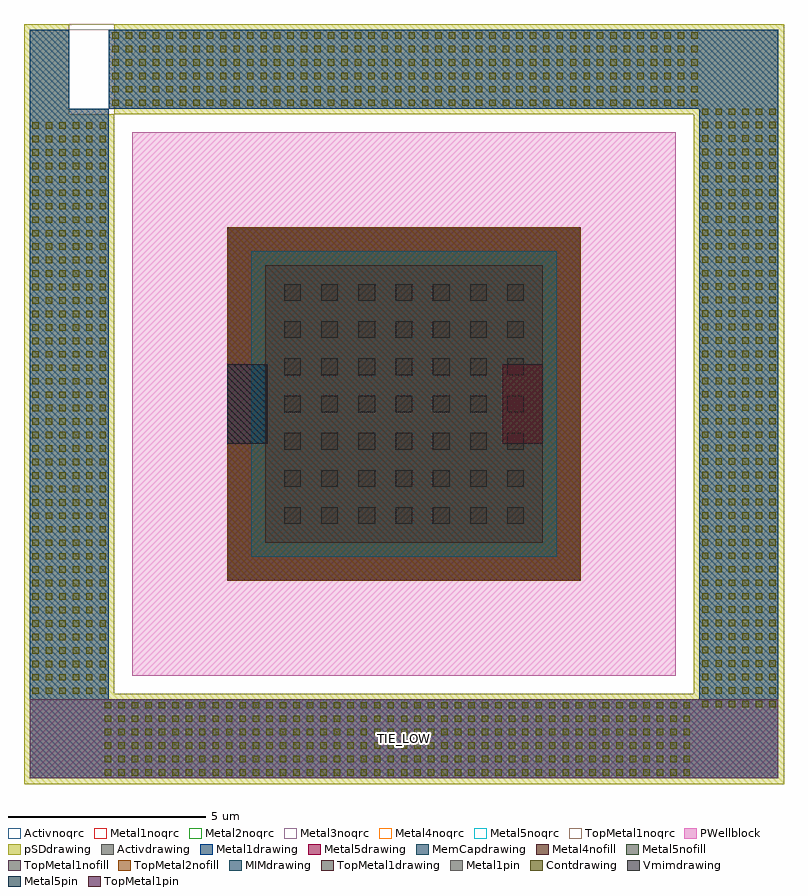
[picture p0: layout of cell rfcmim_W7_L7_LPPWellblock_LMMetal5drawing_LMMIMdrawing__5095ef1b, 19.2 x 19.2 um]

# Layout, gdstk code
from math import pi, radians
import gdstk
lib = gdstk.Library(unit=1e-6, precision=1e-09)
def R(c, l, rs):  # rectangles x0, y0, x1, y1
    for r in rs: c.add(gdstk.rectangle(r[:2], r[2:], *l))
def P(c, l, *ps):  # polygons
    for p in ps: c.add(gdstk.Polygon(p, *l))
Activdrawing = (1, 0)
Activnoqrc = (1, 28)
Contdrawing = (6, 0)
Metal1drawing = (8, 0)
Metal1pin = (8, 2)
Metal1noqrc = (8, 28)
Metal2noqrc = (10, 28)
pSDdrawing = (14, 0)
Metal3noqrc = (30, 28)
MIMdrawing = (36, 0)
PWellblock = (46, 21)
Metal4nofill = (50, 23)
Metal4noqrc = (50, 28)
Metal5drawing = (67, 0)
Metal5pin = (67, 2)
Metal5nofill = (67, 23)
Metal5noqrc = (67, 28)
MemCapdrawing = (69, 0)
TopMetal1drawing = (126, 0)
TopMetal1pin = (126, 2)
TopMetal1nofill = (126, 23)
TopMetal1noqrc = (126, 28)
Vmimdrawing = (129, 0)
TopMetal2nofill = (134, 23)

rectangle_gdsfactorypcom = lib.new_cell('rectangle_gdsfactorypcomponentspshapesprectangle_S8p92__d84e9161')
R(rectangle_gdsfactorypcom, Metal5drawing, [(-4.46,-4.46,4.46,4.46)])

c_rectangle_gdsfactorypcom = lib.new_cell('rectangle_gdsfactorypcomponentspshapesprectangle_S7p72__8766f7dc')
R(c_rectangle_gdsfactorypcom, MIMdrawing, [(-3.86,-3.86,3.86,3.86)])

c_rectangle_gdsfactorypcom_ = lib.new_cell('rectangle_gdsfactorypcomponentspshapesprectangle_S7_7_L_abd43229')
R(c_rectangle_gdsfactorypcom_, TopMetal1drawing, [(-3.5,-3.5,3.5,3.5)])

c_rectangle_gdsfactorypcom__ = lib.new_cell('rectangle_gdsfactorypcomponentspshapesprectangle_S0p42__b20b6c6c')
R(c_rectangle_gdsfactorypcom__, Vmimdrawing, [(0,0,0.42,0.42)])

via_array_vtvmim_c7_r7_v = lib.new_cell('via_array_VTVmim_C7_R7_VS0p42_VS0p94_VE0p42_LCContdrawi_e57b8d13')
via_array_vtvmim_c7_r7_v.add(gdstk.Reference(c_rectangle_gdsfactorypcom__, (0,0)))
via_array_vtvmim_c7_r7_v.add(gdstk.Reference(c_rectangle_gdsfactorypcom__, (0,0.94)))
via_array_vtvmim_c7_r7_v.add(gdstk.Reference(c_rectangle_gdsfactorypcom__, (0,1.88)))
via_array_vtvmim_c7_r7_v.add(gdstk.Reference(c_rectangle_gdsfactorypcom__, (0,2.82)))
via_array_vtvmim_c7_r7_v.add(gdstk.Reference(c_rectangle_gdsfactorypcom__, (0,3.76)))
via_array_vtvmim_c7_r7_v.add(gdstk.Reference(c_rectangle_gdsfactorypcom__, (0,4.7)))
via_array_vtvmim_c7_r7_v.add(gdstk.Reference(c_rectangle_gdsfactorypcom__, (0,5.64)))
via_array_vtvmim_c7_r7_v.add(gdstk.Reference(c_rectangle_gdsfactorypcom__, (0.94,0)))
via_array_vtvmim_c7_r7_v.add(gdstk.Reference(c_rectangle_gdsfactorypcom__, (0.94,0.94)))
via_array_vtvmim_c7_r7_v.add(gdstk.Reference(c_rectangle_gdsfactorypcom__, (0.94,1.88)))
via_array_vtvmim_c7_r7_v.add(gdstk.Reference(c_rectangle_gdsfactorypcom__, (0.94,2.82)))
via_array_vtvmim_c7_r7_v.add(gdstk.Reference(c_rectangle_gdsfactorypcom__, (0.94,3.76)))
via_array_vtvmim_c7_r7_v.add(gdstk.Reference(c_rectangle_gdsfactorypcom__, (0.94,4.7)))
via_array_vtvmim_c7_r7_v.add(gdstk.Reference(c_rectangle_gdsfactorypcom__, (0.94,5.64)))
via_array_vtvmim_c7_r7_v.add(gdstk.Reference(c_rectangle_gdsfactorypcom__, (1.88,0)))
via_array_vtvmim_c7_r7_v.add(gdstk.Reference(c_rectangle_gdsfactorypcom__, (1.88,0.94)))
via_array_vtvmim_c7_r7_v.add(gdstk.Reference(c_rectangle_gdsfactorypcom__, (1.88,1.88)))
via_array_vtvmim_c7_r7_v.add(gdstk.Reference(c_rectangle_gdsfactorypcom__, (1.88,2.82)))
via_array_vtvmim_c7_r7_v.add(gdstk.Reference(c_rectangle_gdsfactorypcom__, (1.88,3.76)))
via_array_vtvmim_c7_r7_v.add(gdstk.Reference(c_rectangle_gdsfactorypcom__, (1.88,4.7)))
via_array_vtvmim_c7_r7_v.add(gdstk.Reference(c_rectangle_gdsfactorypcom__, (1.88,5.64)))
via_array_vtvmim_c7_r7_v.add(gdstk.Reference(c_rectangle_gdsfactorypcom__, (2.82,0)))
via_array_vtvmim_c7_r7_v.add(gdstk.Reference(c_rectangle_gdsfactorypcom__, (2.82,0.94)))
via_array_vtvmim_c7_r7_v.add(gdstk.Reference(c_rectangle_gdsfactorypcom__, (2.82,1.88)))
via_array_vtvmim_c7_r7_v.add(gdstk.Reference(c_rectangle_gdsfactorypcom__, (2.82,2.82)))
via_array_vtvmim_c7_r7_v.add(gdstk.Reference(c_rectangle_gdsfactorypcom__, (2.82,3.76)))
via_array_vtvmim_c7_r7_v.add(gdstk.Reference(c_rectangle_gdsfactorypcom__, (2.82,4.7)))
via_array_vtvmim_c7_r7_v.add(gdstk.Reference(c_rectangle_gdsfactorypcom__, (2.82,5.64)))
via_array_vtvmim_c7_r7_v.add(gdstk.Reference(c_rectangle_gdsfactorypcom__, (3.76,0)))
via_array_vtvmim_c7_r7_v.add(gdstk.Reference(c_rectangle_gdsfactorypcom__, (3.76,0.94)))
via_array_vtvmim_c7_r7_v.add(gdstk.Reference(c_rectangle_gdsfactorypcom__, (3.76,1.88)))
via_array_vtvmim_c7_r7_v.add(gdstk.Reference(c_rectangle_gdsfactorypcom__, (3.76,2.82)))
via_array_vtvmim_c7_r7_v.add(gdstk.Reference(c_rectangle_gdsfactorypcom__, (3.76,3.76)))
via_array_vtvmim_c7_r7_v.add(gdstk.Reference(c_rectangle_gdsfactorypcom__, (3.76,4.7)))
via_array_vtvmim_c7_r7_v.add(gdstk.Reference(c_rectangle_gdsfactorypcom__, (3.76,5.64)))
via_array_vtvmim_c7_r7_v.add(gdstk.Reference(c_rectangle_gdsfactorypcom__, (4.7,0)))
via_array_vtvmim_c7_r7_v.add(gdstk.Reference(c_rectangle_gdsfactorypcom__, (4.7,0.94)))
via_array_vtvmim_c7_r7_v.add(gdstk.Reference(c_rectangle_gdsfactorypcom__, (4.7,1.88)))
via_array_vtvmim_c7_r7_v.add(gdstk.Reference(c_rectangle_gdsfactorypcom__, (4.7,2.82)))
via_array_vtvmim_c7_r7_v.add(gdstk.Reference(c_rectangle_gdsfactorypcom__, (4.7,3.76)))
via_array_vtvmim_c7_r7_v.add(gdstk.Reference(c_rectangle_gdsfactorypcom__, (4.7,4.7)))
via_array_vtvmim_c7_r7_v.add(gdstk.Reference(c_rectangle_gdsfactorypcom__, (4.7,5.64)))
via_array_vtvmim_c7_r7_v.add(gdstk.Reference(c_rectangle_gdsfactorypcom__, (5.64,0)))
via_array_vtvmim_c7_r7_v.add(gdstk.Reference(c_rectangle_gdsfactorypcom__, (5.64,0.94)))
via_array_vtvmim_c7_r7_v.add(gdstk.Reference(c_rectangle_gdsfactorypcom__, (5.64,1.88)))
via_array_vtvmim_c7_r7_v.add(gdstk.Reference(c_rectangle_gdsfactorypcom__, (5.64,2.82)))
via_array_vtvmim_c7_r7_v.add(gdstk.Reference(c_rectangle_gdsfactorypcom__, (5.64,3.76)))
via_array_vtvmim_c7_r7_v.add(gdstk.Reference(c_rectangle_gdsfactorypcom__, (5.64,4.7)))
via_array_vtvmim_c7_r7_v.add(gdstk.Reference(c_rectangle_gdsfactorypcom__, (5.64,5.64)))

c_rectangle_gdsfactorypcom___ = lib.new_cell('rectangle_gdsfactorypcomponentspshapesprectangle_S8p92__d5712069')
R(c_rectangle_gdsfactorypcom___, MemCapdrawing, [(-4.46,-4.46,4.46,4.46)])

c_rectangle_gdsfactorypcom____ = lib.new_cell('rectangle_gdsfactorypcomponentspshapesprectangle_S8p92__9c098d54')
R(c_rectangle_gdsfactorypcom____, Metal4nofill, [(-4.46,-4.46,4.46,4.46)])

c_rectangle_gdsfactorypcom_____ = lib.new_cell('rectangle_gdsfactorypcomponentspshapesprectangle_S8p92__cdf6bbf6')
R(c_rectangle_gdsfactorypcom_____, Metal5nofill, [(-4.46,-4.46,4.46,4.46)])

c_rectangle_gdsfactorypcom______ = lib.new_cell('rectangle_gdsfactorypcomponentspshapesprectangle_S8p92__0cfac802')
R(c_rectangle_gdsfactorypcom______, TopMetal1nofill, [(-4.46,-4.46,4.46,4.46)])

c_rectangle_gdsfactorypcom_______ = lib.new_cell('rectangle_gdsfactorypcomponentspshapesprectangle_S8p92__57c61b2f')
R(c_rectangle_gdsfactorypcom_______, TopMetal2nofill, [(-4.46,-4.46,4.46,4.46)])

c_rectangle_gdsfactorypcom________ = lib.new_cell('rectangle_gdsfactorypcomponentspshapesprectangle_S1_2_L_313130ad')
R(c_rectangle_gdsfactorypcom________, Metal5pin, [(-0.5,-1,0.5,1)])

c_rectangle_gdsfactorypcom_________ = lib.new_cell('rectangle_gdsfactorypcomponentspshapesprectangle_S1_2_L_21edbbcb')
R(c_rectangle_gdsfactorypcom_________, TopMetal1pin, [(-0.5,-1,0.5,1)])

cmim_w7_l7_lmmetal5drawi = lib.new_cell('cmim_W7_L7_LMMetal5drawing_LMMIMdrawing_LVVmimdrawing_L_1c086c17')
cmim_w7_l7_lmmetal5drawi.add(gdstk.Reference(rectangle_gdsfactorypcom, (0,0)))
cmim_w7_l7_lmmetal5drawi.add(gdstk.Reference(c_rectangle_gdsfactorypcom, (0,0)))
cmim_w7_l7_lmmetal5drawi.add(gdstk.Reference(c_rectangle_gdsfactorypcom_, (0,0)))
cmim_w7_l7_lmmetal5drawi.add(gdstk.Reference(via_array_vtvmim_c7_r7_v, (-3.03,-3.03)))
cmim_w7_l7_lmmetal5drawi.add(gdstk.Reference(c_rectangle_gdsfactorypcom___, (0,0)))
cmim_w7_l7_lmmetal5drawi.add(gdstk.Reference(c_rectangle_gdsfactorypcom____, (0,0)))
cmim_w7_l7_lmmetal5drawi.add(gdstk.Reference(c_rectangle_gdsfactorypcom_____, (0,0)))
cmim_w7_l7_lmmetal5drawi.add(gdstk.Reference(c_rectangle_gdsfactorypcom______, (0,0)))
cmim_w7_l7_lmmetal5drawi.add(gdstk.Reference(c_rectangle_gdsfactorypcom_______, (0,0)))
cmim_w7_l7_lmmetal5drawi.add(gdstk.Reference(c_rectangle_gdsfactorypcom________, (-3.96,0)))
cmim_w7_l7_lmmetal5drawi.add(gdstk.Reference(c_rectangle_gdsfactorypcom_________, (3,0)))
cmim_w7_l7_lmmetal5drawi.add(gdstk.Label('PLUS', (3,0), layer=63, texttype=0))
cmim_w7_l7_lmmetal5drawi.add(gdstk.Label('MINUS', (-4.36,0), layer=63, texttype=0))
cmim_w7_l7_lmmetal5drawi.add(gdstk.Label('rfcmim', (0,3.5), layer=63, texttype=0))
cmim_w7_l7_lmmetal5drawi.add(gdstk.Label('C = 74.83174999999999 fF', (0,-3.5), layer=63, texttype=0))

c_rectangle_gdsfactorypcom__________ = lib.new_cell('rectangle_gdsfactorypcomponentspshapesprectangle_S13p71_1ac4d0b1')
R(c_rectangle_gdsfactorypcom__________, PWellblock, [(-6.86,-6.86,6.86,6.86)])

unnamed_377 = lib.new_cell('Unnamed_377')
P(unnamed_377, Activdrawing, [(-9.46,-9.46),(-9.46,9.46),(-7.46,9.46),(-7.46,-7.46),(7.46,-7.46),(7.46,7.46),(-8.46,7.46),(-8.46,9.46),(9.46,9.46),(9.46,-9.46)])

unnamed_378 = lib.new_cell('Unnamed_378')
P(unnamed_378, Metal1drawing, [(-9.46,-9.46),(-9.46,9.46),(-7.46,9.46),(-7.46,-7.46),(7.46,-7.46),(7.46,7.46),(-8.46,7.46),(-8.46,9.46),(9.46,9.46),(9.46,-9.46)])

unnamed_379 = lib.new_cell('Unnamed_379')
P(unnamed_379, pSDdrawing, [(-9.6,-9.6),(-9.6,9.6),(-7.32,9.6),(-7.32,-7.32),(7.32,-7.32),(7.32,7.32),(-8.46,7.32),(-8.46,9.6),(9.6,9.6),(9.6,-9.6)])

c_rectangle_gdsfactorypcom___________ = lib.new_cell('rectangle_gdsfactorypcomponentspshapesprectangle_S0p16__bf15bdcd')
R(c_rectangle_gdsfactorypcom___________, Contdrawing, [(0,0,0.16,0.16)])

via_array_vtcont_c1_r6_v = lib.new_cell('via_array_VTCont_C1_R6_VS0p16_VS0p33999999999999997_VE0_973e9d7a')
via_array_vtcont_c1_r6_v.add(gdstk.Reference(c_rectangle_gdsfactorypcom___________, (0,0)))
via_array_vtcont_c1_r6_v.add(gdstk.Reference(c_rectangle_gdsfactorypcom___________, (0,0.34)))
via_array_vtcont_c1_r6_v.add(gdstk.Reference(c_rectangle_gdsfactorypcom___________, (0,0.68)))
via_array_vtcont_c1_r6_v.add(gdstk.Reference(c_rectangle_gdsfactorypcom___________, (0,1.02)))
via_array_vtcont_c1_r6_v.add(gdstk.Reference(c_rectangle_gdsfactorypcom___________, (0,1.36)))
via_array_vtcont_c1_r6_v.add(gdstk.Reference(c_rectangle_gdsfactorypcom___________, (0,1.7)))

unnamed_381 = lib.new_cell('Unnamed_381')
unnamed_381.add(gdstk.Reference(via_array_vtcont_c1_r6_v, (0.085,-7.53), rotation=pi))
unnamed_381.add(gdstk.Reference(via_array_vtcont_c1_r6_v, (0.455,7.53)))
unnamed_381.add(gdstk.Reference(via_array_vtcont_c1_r6_v, (0.795,7.53)))
unnamed_381.add(gdstk.Reference(via_array_vtcont_c1_r6_v, (1.135,7.53)))
unnamed_381.add(gdstk.Reference(via_array_vtcont_c1_r6_v, (1.475,7.53)))
unnamed_381.add(gdstk.Reference(via_array_vtcont_c1_r6_v, (1.815,7.53)))
unnamed_381.add(gdstk.Reference(via_array_vtcont_c1_r6_v, (2.155,7.53)))
unnamed_381.add(gdstk.Reference(via_array_vtcont_c1_r6_v, (2.495,7.53)))
unnamed_381.add(gdstk.Reference(via_array_vtcont_c1_r6_v, (2.835,7.53)))
unnamed_381.add(gdstk.Reference(via_array_vtcont_c1_r6_v, (3.175,7.53)))
unnamed_381.add(gdstk.Reference(via_array_vtcont_c1_r6_v, (3.515,7.53)))
unnamed_381.add(gdstk.Reference(via_array_vtcont_c1_r6_v, (3.855,7.53)))
unnamed_381.add(gdstk.Reference(via_array_vtcont_c1_r6_v, (4.195,7.53)))
unnamed_381.add(gdstk.Reference(via_array_vtcont_c1_r6_v, (4.535,7.53)))
unnamed_381.add(gdstk.Reference(via_array_vtcont_c1_r6_v, (4.875,7.53)))
unnamed_381.add(gdstk.Reference(via_array_vtcont_c1_r6_v, (5.215,7.53)))
unnamed_381.add(gdstk.Reference(via_array_vtcont_c1_r6_v, (5.555,7.53)))
unnamed_381.add(gdstk.Reference(via_array_vtcont_c1_r6_v, (5.895,7.53)))
unnamed_381.add(gdstk.Reference(via_array_vtcont_c1_r6_v, (6.235,7.53)))
unnamed_381.add(gdstk.Reference(via_array_vtcont_c1_r6_v, (6.575,7.53)))
unnamed_381.add(gdstk.Reference(via_array_vtcont_c1_r6_v, (6.915,7.53)))
unnamed_381.add(gdstk.Reference(via_array_vtcont_c1_r6_v, (7.255,7.53)))
unnamed_381.add(gdstk.Reference(via_array_vtcont_c1_r6_v, (7.53,7.465), rotation=3*pi/2))
unnamed_381.add(gdstk.Reference(via_array_vtcont_c1_r6_v, (7.53,7.125), rotation=3*pi/2))
unnamed_381.add(gdstk.Reference(via_array_vtcont_c1_r6_v, (7.53,6.785), rotation=3*pi/2))
unnamed_381.add(gdstk.Reference(via_array_vtcont_c1_r6_v, (7.53,6.445), rotation=3*pi/2))
unnamed_381.add(gdstk.Reference(via_array_vtcont_c1_r6_v, (7.53,6.105), rotation=3*pi/2))
unnamed_381.add(gdstk.Reference(via_array_vtcont_c1_r6_v, (7.53,5.765), rotation=3*pi/2))
unnamed_381.add(gdstk.Reference(via_array_vtcont_c1_r6_v, (7.53,5.425), rotation=3*pi/2))
unnamed_381.add(gdstk.Reference(via_array_vtcont_c1_r6_v, (7.53,5.085), rotation=3*pi/2))
unnamed_381.add(gdstk.Reference(via_array_vtcont_c1_r6_v, (7.53,4.745), rotation=3*pi/2))
unnamed_381.add(gdstk.Reference(via_array_vtcont_c1_r6_v, (7.53,4.405), rotation=3*pi/2))
unnamed_381.add(gdstk.Reference(via_array_vtcont_c1_r6_v, (7.53,4.065), rotation=3*pi/2))
unnamed_381.add(gdstk.Reference(via_array_vtcont_c1_r6_v, (7.53,3.725), rotation=3*pi/2))
unnamed_381.add(gdstk.Reference(via_array_vtcont_c1_r6_v, (7.53,3.385), rotation=3*pi/2))
unnamed_381.add(gdstk.Reference(via_array_vtcont_c1_r6_v, (7.53,3.045), rotation=3*pi/2))
unnamed_381.add(gdstk.Reference(via_array_vtcont_c1_r6_v, (7.53,2.705), rotation=3*pi/2))
unnamed_381.add(gdstk.Reference(via_array_vtcont_c1_r6_v, (7.53,2.365), rotation=3*pi/2))
unnamed_381.add(gdstk.Reference(via_array_vtcont_c1_r6_v, (7.53,2.025), rotation=3*pi/2))
unnamed_381.add(gdstk.Reference(via_array_vtcont_c1_r6_v, (7.53,1.685), rotation=3*pi/2))
unnamed_381.add(gdstk.Reference(via_array_vtcont_c1_r6_v, (7.53,1.345), rotation=3*pi/2))
unnamed_381.add(gdstk.Reference(via_array_vtcont_c1_r6_v, (7.53,1.005), rotation=3*pi/2))
unnamed_381.add(gdstk.Reference(via_array_vtcont_c1_r6_v, (7.53,0.665), rotation=3*pi/2))
unnamed_381.add(gdstk.Reference(via_array_vtcont_c1_r6_v, (7.53,0.325), rotation=3*pi/2))
unnamed_381.add(gdstk.Reference(via_array_vtcont_c1_r6_v, (0.115,7.53)))
unnamed_381.add(gdstk.Reference(via_array_vtcont_c1_r6_v, (-7.025,7.53)))
unnamed_381.add(gdstk.Reference(via_array_vtcont_c1_r6_v, (-6.685,7.53)))
unnamed_381.add(gdstk.Reference(via_array_vtcont_c1_r6_v, (-6.345,7.53)))
unnamed_381.add(gdstk.Reference(via_array_vtcont_c1_r6_v, (-6.005,7.53)))
unnamed_381.add(gdstk.Reference(via_array_vtcont_c1_r6_v, (-5.665,7.53)))
unnamed_381.add(gdstk.Reference(via_array_vtcont_c1_r6_v, (-5.325,7.53)))
unnamed_381.add(gdstk.Reference(via_array_vtcont_c1_r6_v, (-4.985,7.53)))
unnamed_381.add(gdstk.Reference(via_array_vtcont_c1_r6_v, (-4.645,7.53)))
unnamed_381.add(gdstk.Reference(via_array_vtcont_c1_r6_v, (-4.305,7.53)))
unnamed_381.add(gdstk.Reference(via_array_vtcont_c1_r6_v, (-3.965,7.53)))
unnamed_381.add(gdstk.Reference(via_array_vtcont_c1_r6_v, (-3.625,7.53)))
unnamed_381.add(gdstk.Reference(via_array_vtcont_c1_r6_v, (-3.285,7.53)))
unnamed_381.add(gdstk.Reference(via_array_vtcont_c1_r6_v, (-2.945,7.53)))
unnamed_381.add(gdstk.Reference(via_array_vtcont_c1_r6_v, (-2.605,7.53)))
unnamed_381.add(gdstk.Reference(via_array_vtcont_c1_r6_v, (-2.265,7.53)))
unnamed_381.add(gdstk.Reference(via_array_vtcont_c1_r6_v, (-1.925,7.53)))
unnamed_381.add(gdstk.Reference(via_array_vtcont_c1_r6_v, (-1.585,7.53)))
unnamed_381.add(gdstk.Reference(via_array_vtcont_c1_r6_v, (-1.245,7.53)))
unnamed_381.add(gdstk.Reference(via_array_vtcont_c1_r6_v, (-0.905,7.53)))
unnamed_381.add(gdstk.Reference(via_array_vtcont_c1_r6_v, (-0.565,7.53)))
unnamed_381.add(gdstk.Reference(via_array_vtcont_c1_r6_v, (-0.225,7.53)))
unnamed_381.add(gdstk.Reference(via_array_vtcont_c1_r6_v, (-7.365,7.53)))
unnamed_381.add(gdstk.Reference(via_array_vtcont_c1_r6_v, (-7.53,0.155), rotation=pi/2))
unnamed_381.add(gdstk.Reference(via_array_vtcont_c1_r6_v, (-7.53,0.495), rotation=pi/2))
unnamed_381.add(gdstk.Reference(via_array_vtcont_c1_r6_v, (-7.53,0.835), rotation=pi/2))
unnamed_381.add(gdstk.Reference(via_array_vtcont_c1_r6_v, (-7.53,1.175), rotation=pi/2))
unnamed_381.add(gdstk.Reference(via_array_vtcont_c1_r6_v, (-7.53,1.515), rotation=pi/2))
unnamed_381.add(gdstk.Reference(via_array_vtcont_c1_r6_v, (-7.53,1.855), rotation=pi/2))
unnamed_381.add(gdstk.Reference(via_array_vtcont_c1_r6_v, (-7.53,2.195), rotation=pi/2))
unnamed_381.add(gdstk.Reference(via_array_vtcont_c1_r6_v, (-7.53,2.535), rotation=pi/2))
unnamed_381.add(gdstk.Reference(via_array_vtcont_c1_r6_v, (-7.53,2.875), rotation=pi/2))
unnamed_381.add(gdstk.Reference(via_array_vtcont_c1_r6_v, (-7.53,3.215), rotation=pi/2))
unnamed_381.add(gdstk.Reference(via_array_vtcont_c1_r6_v, (-7.53,3.555), rotation=pi/2))
unnamed_381.add(gdstk.Reference(via_array_vtcont_c1_r6_v, (-7.53,3.895), rotation=pi/2))
unnamed_381.add(gdstk.Reference(via_array_vtcont_c1_r6_v, (-7.53,4.235), rotation=pi/2))
unnamed_381.add(gdstk.Reference(via_array_vtcont_c1_r6_v, (-7.53,4.575), rotation=pi/2))
unnamed_381.add(gdstk.Reference(via_array_vtcont_c1_r6_v, (-7.53,4.915), rotation=pi/2))
unnamed_381.add(gdstk.Reference(via_array_vtcont_c1_r6_v, (-7.53,5.255), rotation=pi/2))
unnamed_381.add(gdstk.Reference(via_array_vtcont_c1_r6_v, (-7.53,5.595), rotation=pi/2))
unnamed_381.add(gdstk.Reference(via_array_vtcont_c1_r6_v, (-7.53,5.935), rotation=pi/2))
unnamed_381.add(gdstk.Reference(via_array_vtcont_c1_r6_v, (-7.53,6.275), rotation=pi/2))
unnamed_381.add(gdstk.Reference(via_array_vtcont_c1_r6_v, (-7.53,6.615), rotation=pi/2))
unnamed_381.add(gdstk.Reference(via_array_vtcont_c1_r6_v, (-7.53,6.955), rotation=pi/2))
unnamed_381.add(gdstk.Reference(via_array_vtcont_c1_r6_v, (-7.395,-7.53), rotation=pi))
unnamed_381.add(gdstk.Reference(via_array_vtcont_c1_r6_v, (-7.53,-7.325), rotation=pi/2))
unnamed_381.add(gdstk.Reference(via_array_vtcont_c1_r6_v, (-7.53,-6.985), rotation=pi/2))
unnamed_381.add(gdstk.Reference(via_array_vtcont_c1_r6_v, (-7.53,-6.645), rotation=pi/2))
unnamed_381.add(gdstk.Reference(via_array_vtcont_c1_r6_v, (-7.53,-6.305), rotation=pi/2))
unnamed_381.add(gdstk.Reference(via_array_vtcont_c1_r6_v, (-7.53,-5.965), rotation=pi/2))
unnamed_381.add(gdstk.Reference(via_array_vtcont_c1_r6_v, (-7.53,-5.625), rotation=pi/2))
unnamed_381.add(gdstk.Reference(via_array_vtcont_c1_r6_v, (-7.53,-5.285), rotation=pi/2))
unnamed_381.add(gdstk.Reference(via_array_vtcont_c1_r6_v, (-7.53,-4.945), rotation=pi/2))
unnamed_381.add(gdstk.Reference(via_array_vtcont_c1_r6_v, (-7.53,-4.605), rotation=pi/2))
unnamed_381.add(gdstk.Reference(via_array_vtcont_c1_r6_v, (-7.53,-4.265), rotation=pi/2))
unnamed_381.add(gdstk.Reference(via_array_vtcont_c1_r6_v, (-7.53,-3.925), rotation=pi/2))
unnamed_381.add(gdstk.Reference(via_array_vtcont_c1_r6_v, (-7.53,-3.585), rotation=pi/2))
unnamed_381.add(gdstk.Reference(via_array_vtcont_c1_r6_v, (-7.53,-3.245), rotation=pi/2))
unnamed_381.add(gdstk.Reference(via_array_vtcont_c1_r6_v, (-7.53,-2.905), rotation=pi/2))
unnamed_381.add(gdstk.Reference(via_array_vtcont_c1_r6_v, (-7.53,-2.565), rotation=pi/2))
unnamed_381.add(gdstk.Reference(via_array_vtcont_c1_r6_v, (-7.53,-2.225), rotation=pi/2))
unnamed_381.add(gdstk.Reference(via_array_vtcont_c1_r6_v, (-7.53,-1.885), rotation=pi/2))
unnamed_381.add(gdstk.Reference(via_array_vtcont_c1_r6_v, (-7.53,-1.545), rotation=pi/2))
unnamed_381.add(gdstk.Reference(via_array_vtcont_c1_r6_v, (-7.53,-1.205), rotation=pi/2))
unnamed_381.add(gdstk.Reference(via_array_vtcont_c1_r6_v, (-7.53,-0.865), rotation=pi/2))
unnamed_381.add(gdstk.Reference(via_array_vtcont_c1_r6_v, (-7.53,-0.525), rotation=pi/2))
unnamed_381.add(gdstk.Reference(via_array_vtcont_c1_r6_v, (-7.53,-0.185), rotation=pi/2))
unnamed_381.add(gdstk.Reference(via_array_vtcont_c1_r6_v, (-0.255,-7.53), rotation=pi))
unnamed_381.add(gdstk.Reference(via_array_vtcont_c1_r6_v, (-0.595,-7.53), rotation=pi))
unnamed_381.add(gdstk.Reference(via_array_vtcont_c1_r6_v, (-0.935,-7.53), rotation=pi))
unnamed_381.add(gdstk.Reference(via_array_vtcont_c1_r6_v, (-1.275,-7.53), rotation=pi))
unnamed_381.add(gdstk.Reference(via_array_vtcont_c1_r6_v, (-1.615,-7.53), rotation=pi))
unnamed_381.add(gdstk.Reference(via_array_vtcont_c1_r6_v, (-1.955,-7.53), rotation=pi))
unnamed_381.add(gdstk.Reference(via_array_vtcont_c1_r6_v, (-2.295,-7.53), rotation=pi))
unnamed_381.add(gdstk.Reference(via_array_vtcont_c1_r6_v, (-2.635,-7.53), rotation=pi))
unnamed_381.add(gdstk.Reference(via_array_vtcont_c1_r6_v, (-2.975,-7.53), rotation=pi))
unnamed_381.add(gdstk.Reference(via_array_vtcont_c1_r6_v, (-3.315,-7.53), rotation=pi))
unnamed_381.add(gdstk.Reference(via_array_vtcont_c1_r6_v, (-3.655,-7.53), rotation=pi))
unnamed_381.add(gdstk.Reference(via_array_vtcont_c1_r6_v, (-3.995,-7.53), rotation=pi))
unnamed_381.add(gdstk.Reference(via_array_vtcont_c1_r6_v, (-4.335,-7.53), rotation=pi))
unnamed_381.add(gdstk.Reference(via_array_vtcont_c1_r6_v, (-4.675,-7.53), rotation=pi))
unnamed_381.add(gdstk.Reference(via_array_vtcont_c1_r6_v, (-5.015,-7.53), rotation=pi))
unnamed_381.add(gdstk.Reference(via_array_vtcont_c1_r6_v, (-5.355,-7.53), rotation=pi))
unnamed_381.add(gdstk.Reference(via_array_vtcont_c1_r6_v, (-5.695,-7.53), rotation=pi))
unnamed_381.add(gdstk.Reference(via_array_vtcont_c1_r6_v, (-6.035,-7.53), rotation=pi))
unnamed_381.add(gdstk.Reference(via_array_vtcont_c1_r6_v, (-6.375,-7.53), rotation=pi))
unnamed_381.add(gdstk.Reference(via_array_vtcont_c1_r6_v, (-6.715,-7.53), rotation=pi))
unnamed_381.add(gdstk.Reference(via_array_vtcont_c1_r6_v, (-7.055,-7.53), rotation=pi))
unnamed_381.add(gdstk.Reference(via_array_vtcont_c1_r6_v, (7.53,-7.495), rotation=3*pi/2))
unnamed_381.add(gdstk.Reference(via_array_vtcont_c1_r6_v, (7.225,-7.53), rotation=pi))
unnamed_381.add(gdstk.Reference(via_array_vtcont_c1_r6_v, (6.885,-7.53), rotation=pi))
unnamed_381.add(gdstk.Reference(via_array_vtcont_c1_r6_v, (6.545,-7.53), rotation=pi))
unnamed_381.add(gdstk.Reference(via_array_vtcont_c1_r6_v, (6.205,-7.53), rotation=pi))
unnamed_381.add(gdstk.Reference(via_array_vtcont_c1_r6_v, (5.865,-7.53), rotation=pi))
unnamed_381.add(gdstk.Reference(via_array_vtcont_c1_r6_v, (5.525,-7.53), rotation=pi))
unnamed_381.add(gdstk.Reference(via_array_vtcont_c1_r6_v, (5.185,-7.53), rotation=pi))
unnamed_381.add(gdstk.Reference(via_array_vtcont_c1_r6_v, (4.845,-7.53), rotation=pi))
unnamed_381.add(gdstk.Reference(via_array_vtcont_c1_r6_v, (4.505,-7.53), rotation=pi))
unnamed_381.add(gdstk.Reference(via_array_vtcont_c1_r6_v, (4.165,-7.53), rotation=pi))
unnamed_381.add(gdstk.Reference(via_array_vtcont_c1_r6_v, (3.825,-7.53), rotation=pi))
unnamed_381.add(gdstk.Reference(via_array_vtcont_c1_r6_v, (3.485,-7.53), rotation=pi))
unnamed_381.add(gdstk.Reference(via_array_vtcont_c1_r6_v, (3.145,-7.53), rotation=pi))
unnamed_381.add(gdstk.Reference(via_array_vtcont_c1_r6_v, (2.805,-7.53), rotation=pi))
unnamed_381.add(gdstk.Reference(via_array_vtcont_c1_r6_v, (2.465,-7.53), rotation=pi))
unnamed_381.add(gdstk.Reference(via_array_vtcont_c1_r6_v, (2.125,-7.53), rotation=pi))
unnamed_381.add(gdstk.Reference(via_array_vtcont_c1_r6_v, (1.785,-7.53), rotation=pi))
unnamed_381.add(gdstk.Reference(via_array_vtcont_c1_r6_v, (1.445,-7.53), rotation=pi))
unnamed_381.add(gdstk.Reference(via_array_vtcont_c1_r6_v, (1.105,-7.53), rotation=pi))
unnamed_381.add(gdstk.Reference(via_array_vtcont_c1_r6_v, (0.765,-7.53), rotation=pi))
unnamed_381.add(gdstk.Reference(via_array_vtcont_c1_r6_v, (0.425,-7.53), rotation=pi))
unnamed_381.add(gdstk.Reference(via_array_vtcont_c1_r6_v, (7.53,-0.015), rotation=3*pi/2))
unnamed_381.add(gdstk.Reference(via_array_vtcont_c1_r6_v, (7.53,-0.355), rotation=3*pi/2))
unnamed_381.add(gdstk.Reference(via_array_vtcont_c1_r6_v, (7.53,-0.695), rotation=3*pi/2))
unnamed_381.add(gdstk.Reference(via_array_vtcont_c1_r6_v, (7.53,-1.035), rotation=3*pi/2))
unnamed_381.add(gdstk.Reference(via_array_vtcont_c1_r6_v, (7.53,-1.375), rotation=3*pi/2))
unnamed_381.add(gdstk.Reference(via_array_vtcont_c1_r6_v, (7.53,-1.715), rotation=3*pi/2))
unnamed_381.add(gdstk.Reference(via_array_vtcont_c1_r6_v, (7.53,-2.055), rotation=3*pi/2))
unnamed_381.add(gdstk.Reference(via_array_vtcont_c1_r6_v, (7.53,-2.395), rotation=3*pi/2))
unnamed_381.add(gdstk.Reference(via_array_vtcont_c1_r6_v, (7.53,-2.735), rotation=3*pi/2))
unnamed_381.add(gdstk.Reference(via_array_vtcont_c1_r6_v, (7.53,-3.075), rotation=3*pi/2))
unnamed_381.add(gdstk.Reference(via_array_vtcont_c1_r6_v, (7.53,-3.415), rotation=3*pi/2))
unnamed_381.add(gdstk.Reference(via_array_vtcont_c1_r6_v, (7.53,-3.755), rotation=3*pi/2))
unnamed_381.add(gdstk.Reference(via_array_vtcont_c1_r6_v, (7.53,-4.095), rotation=3*pi/2))
unnamed_381.add(gdstk.Reference(via_array_vtcont_c1_r6_v, (7.53,-4.435), rotation=3*pi/2))
unnamed_381.add(gdstk.Reference(via_array_vtcont_c1_r6_v, (7.53,-4.775), rotation=3*pi/2))
unnamed_381.add(gdstk.Reference(via_array_vtcont_c1_r6_v, (7.53,-5.115), rotation=3*pi/2))
unnamed_381.add(gdstk.Reference(via_array_vtcont_c1_r6_v, (7.53,-5.455), rotation=3*pi/2))
unnamed_381.add(gdstk.Reference(via_array_vtcont_c1_r6_v, (7.53,-5.795), rotation=3*pi/2))
unnamed_381.add(gdstk.Reference(via_array_vtcont_c1_r6_v, (7.53,-6.135), rotation=3*pi/2))
unnamed_381.add(gdstk.Reference(via_array_vtcont_c1_r6_v, (7.53,-6.475), rotation=3*pi/2))
unnamed_381.add(gdstk.Reference(via_array_vtcont_c1_r6_v, (7.53,-6.815), rotation=3*pi/2))
unnamed_381.add(gdstk.Reference(via_array_vtcont_c1_r6_v, (7.53,-7.155), rotation=3*pi/2))

guard_ring_w2_g0p6_gpsub = lib.new_cell('guard_ring_W2_G0p6_Gpsub_Bm6p86_m6p86_6p86_6p86_PNone_L_3a714e9b')
guard_ring_w2_g0p6_gpsub.add(gdstk.Reference(unnamed_377, (0,0)))
guard_ring_w2_g0p6_gpsub.add(gdstk.Reference(unnamed_378, (0,0)))
guard_ring_w2_g0p6_gpsub.add(gdstk.Reference(unnamed_379, (0,0)))
guard_ring_w2_g0p6_gpsub.add(gdstk.Reference(unnamed_381, (0,0)))

c_rectangle_gdsfactorypcom____________ = lib.new_cell('rectangle_gdsfactorypcomponentspshapesprectangle_S19p2__1ff4ff45')
R(c_rectangle_gdsfactorypcom____________, Activnoqrc, [(-9.6,-9.6,9.6,9.6)])

c_rectangle_gdsfactorypcom_____________ = lib.new_cell('rectangle_gdsfactorypcomponentspshapesprectangle_S19p2__c74e973d')
R(c_rectangle_gdsfactorypcom_____________, Metal1noqrc, [(-9.6,-9.6,9.6,9.6)])

c_rectangle_gdsfactorypcom______________ = lib.new_cell('rectangle_gdsfactorypcomponentspshapesprectangle_S19p2__76b7054f')
R(c_rectangle_gdsfactorypcom______________, Metal2noqrc, [(-9.6,-9.6,9.6,9.6)])

c_rectangle_gdsfactorypcom_______________ = lib.new_cell('rectangle_gdsfactorypcomponentspshapesprectangle_S19p2__308a88d6')
R(c_rectangle_gdsfactorypcom_______________, Metal3noqrc, [(-9.6,-9.6,9.6,9.6)])

c_rectangle_gdsfactorypcom________________ = lib.new_cell('rectangle_gdsfactorypcomponentspshapesprectangle_S19p2__43a9326e')
R(c_rectangle_gdsfactorypcom________________, Metal4noqrc, [(-9.6,-9.6,9.6,9.6)])

c_rectangle_gdsfactorypcom_________________ = lib.new_cell('rectangle_gdsfactorypcomponentspshapesprectangle_S19p2__11a5ac53')
R(c_rectangle_gdsfactorypcom_________________, Metal5noqrc, [(-9.6,-9.6,9.6,9.6)])

c_rectangle_gdsfactorypcom__________________ = lib.new_cell('rectangle_gdsfactorypcomponentspshapesprectangle_S19p2__995deaef')
R(c_rectangle_gdsfactorypcom__________________, TopMetal1noqrc, [(-9.6,-9.6,9.6,9.6)])

c_rectangle_gdsfactorypcom___________________ = lib.new_cell('rectangle_gdsfactorypcomponentspshapesprectangle_S18p91_ed00c0c0')
R(c_rectangle_gdsfactorypcom___________________, Metal1pin, [(-9.46,-1,9.46,1)])

rfcmim_w7_l7_lppwellbloc = lib.new_cell('rfcmim_W7_L7_LPPWellblock_LMMetal5drawing_LMMIMdrawing__5095ef1b')
rfcmim_w7_l7_lppwellbloc.add(gdstk.Reference(cmim_w7_l7_lmmetal5drawi, (0,0)))
rfcmim_w7_l7_lppwellbloc.add(gdstk.Reference(c_rectangle_gdsfactorypcom__________, (0,0)))
rfcmim_w7_l7_lppwellbloc.add(gdstk.Reference(guard_ring_w2_g0p6_gpsub, (0,0)))
rfcmim_w7_l7_lppwellbloc.add(gdstk.Reference(c_rectangle_gdsfactorypcom____________, (0,0)))
rfcmim_w7_l7_lppwellbloc.add(gdstk.Reference(c_rectangle_gdsfactorypcom_____________, (0,0)))
rfcmim_w7_l7_lppwellbloc.add(gdstk.Reference(c_rectangle_gdsfactorypcom______________, (0,0)))
rfcmim_w7_l7_lppwellbloc.add(gdstk.Reference(c_rectangle_gdsfactorypcom_______________, (0,0)))
rfcmim_w7_l7_lppwellbloc.add(gdstk.Reference(c_rectangle_gdsfactorypcom________________, (0,0)))
rfcmim_w7_l7_lppwellbloc.add(gdstk.Reference(c_rectangle_gdsfactorypcom_________________, (0,0)))
rfcmim_w7_l7_lppwellbloc.add(gdstk.Reference(c_rectangle_gdsfactorypcom__________________, (0,0)))
rfcmim_w7_l7_lppwellbloc.add(gdstk.Reference(c_rectangle_gdsfactorypcom___________________, (0,-8.46)))
rfcmim_w7_l7_lppwellbloc.add(gdstk.Label('TIE_LOW', (0,-8.46), layer=8, texttype=1))
rfcmim_w7_l7_lppwellbloc.add(gdstk.Label('TIE_LOW', (0,-8.46), layer=63, texttype=0))

lib.write_gds('rfcmim_W7_L7_LPPWellblock_LMMetal5drawing_LMMIMdrawing__5095ef1b.gds')
